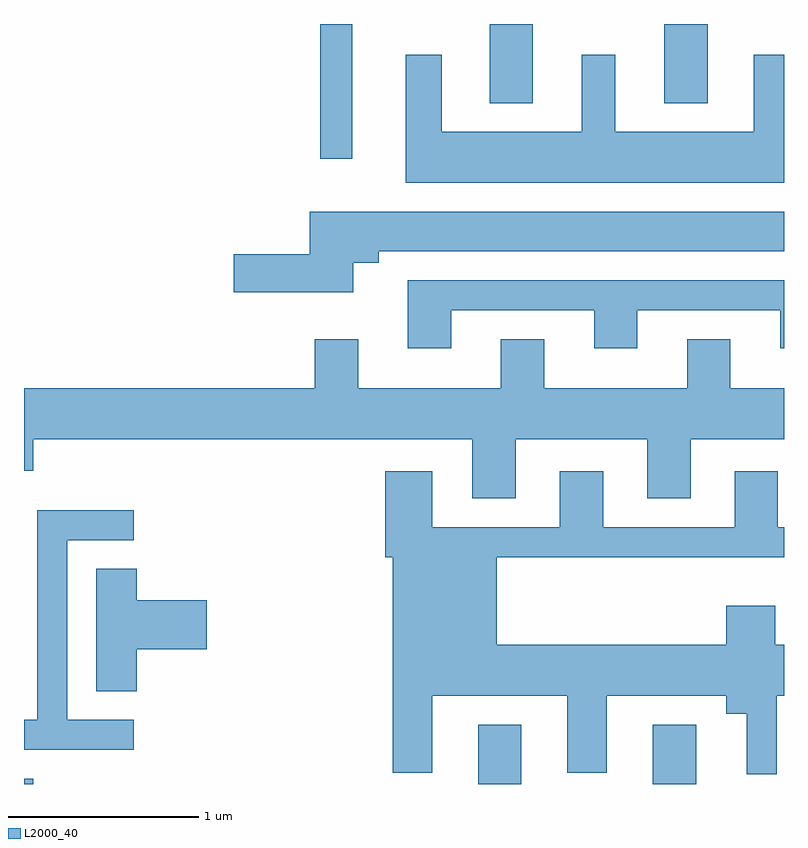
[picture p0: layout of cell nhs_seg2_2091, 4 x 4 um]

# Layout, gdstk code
import gdstk
lib = gdstk.Library(unit=1e-6, precision=1e-09)
def R(c, l, rs):  # rectangles x0, y0, x1, y1
    for r in rs: c.add(gdstk.rectangle(r[:2], r[2:], *l))
def P(c, l, *ps):  # polygons
    for p in ps: c.add(gdstk.Polygon(p, *l))
L2000_40 = (2000, 40)

nhs_seg2_2091 = lib.new_cell('nhs_seg2_2091')
R(nhs_seg2_2091, L2000_40, [(245.611,1079.802,245.659,1079.829), (248.001,1079.802,248.229,1080.114), (248.921,1079.802,249.149,1080.114), (247.171,1083.093,247.339,1083.802), (248.061,1083.386,248.289,1083.802), (248.981,1083.386,249.209,1083.802)])
P(nhs_seg2_2091, L2000_40, [(249.611,1083.639),(249.451,1083.639),(249.451,1083.234),(248.724,1083.234),(248.724,1083.639),(248.546,1083.639),(248.546,1083.234),(247.809,1083.234),(247.809,1083.639),(247.621,1083.639),(247.621,1082.966),(249.611,1082.966)],
  [(247.344,1082.546),(247.479,1082.546),(247.479,1082.606),(249.611,1082.606),(249.611,1082.814),(247.116,1082.814),(247.116,1082.589),(246.716,1082.589),(246.716,1082.391),(247.344,1082.391)],
  [(247.859,1082.296),(248.611,1082.296),(248.611,1082.096),(248.839,1082.096),(248.839,1082.296),(249.591,1082.296),(249.591,1082.096),(249.611,1082.096),(249.611,1082.454),(247.631,1082.454),(247.631,1082.096),(247.859,1082.096)],
  [(248.199,1081.616),(248.891,1081.616),(248.891,1081.306),(249.119,1081.306),(249.119,1081.616),(249.611,1081.616),(249.611,1081.884),(249.329,1081.884),(249.329,1082.144),(249.101,1082.144),(249.101,1081.884),(248.349,1081.884),(248.349,1082.144),(248.121,1082.144),(248.121,1081.884),(247.369,1081.884),(247.369,1082.144),(247.141,1082.144),(247.141,1081.884),(245.611,1081.884),(245.611,1081.451),(245.659,1081.451),(245.659,1081.616),(247.971,1081.616),(247.971,1081.306),(248.199,1081.306)],
  [(249.574,1080.266),(249.611,1080.266),(249.611,1080.534),(249.564,1080.534),(249.564,1080.739),(249.306,1080.739),(249.306,1080.534),(248.099,1080.534),(248.099,1080.996),(249.611,1080.996),(249.611,1081.154),(249.579,1081.154),(249.579,1081.449),(249.351,1081.449),(249.351,1081.154),(248.659,1081.154),(248.659,1081.449),(248.431,1081.449),(248.431,1081.154),(247.759,1081.154),(247.759,1081.449),(247.511,1081.449),(247.511,1080.996),(247.551,1080.996),(247.551,1079.861),(247.759,1079.861),(247.759,1080.266),(248.471,1080.266),(248.471,1079.861),(248.679,1079.861),(248.679,1080.266),(249.306,1080.266),(249.306,1080.171),(249.416,1080.171),(249.416,1079.853),(249.574,1079.853)],
  [(246.188,1080.139),(245.839,1080.139),(245.839,1081.086),(246.188,1081.086),(246.188,1081.244),(245.681,1081.244),(245.681,1080.139),(245.611,1080.139),(245.611,1079.981),(246.188,1079.981)],
  [(246.204,1080.511),(246.574,1080.511),(246.574,1080.769),(246.204,1080.769),(246.204,1080.934),(245.991,1080.934),(245.991,1080.291),(246.204,1080.291)])

lib.write_gds('nhs_seg2_2091.gds')
